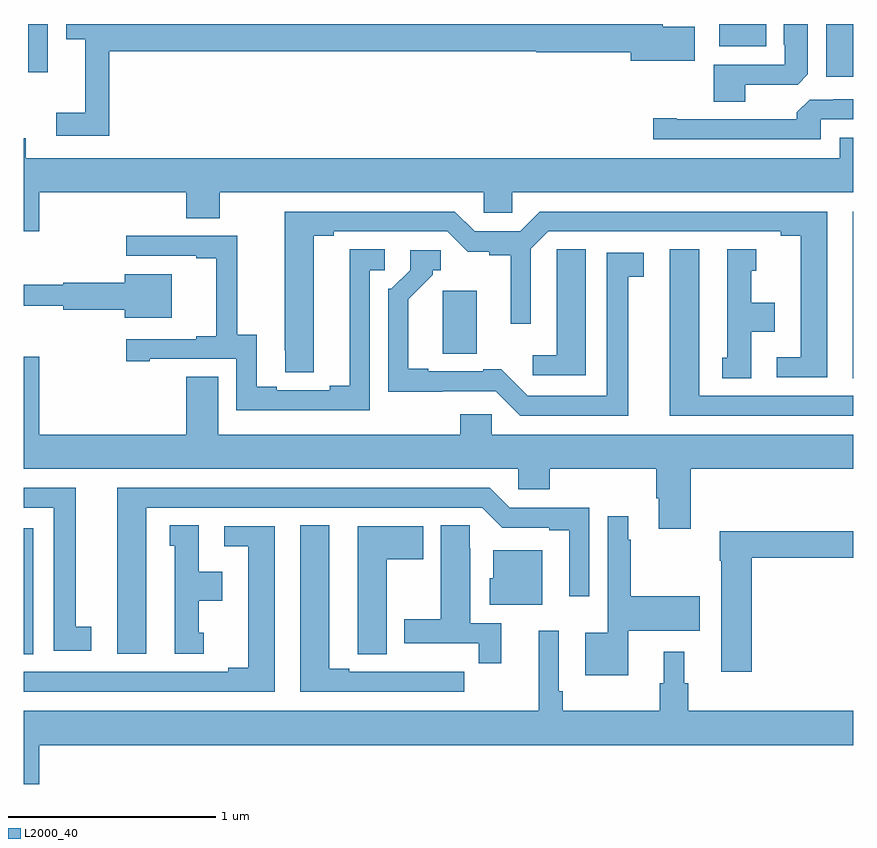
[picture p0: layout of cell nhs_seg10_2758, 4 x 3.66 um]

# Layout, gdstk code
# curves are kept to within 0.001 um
import gdstk
lib = gdstk.Library(unit=1e-6, precision=1e-09)
def R(c, l, rs):  # rectangles x0, y0, x1, y1
    for r in rs: c.add(gdstk.rectangle(r[:2], r[2:], *l))
def P(c, l, *ps):  # polygons
    for p in ps: c.add(gdstk.Polygon(p, *l))
L2000_40 = (2000, 40)

nhs_seg10_2758 = lib.new_cell('nhs_seg10_2758')
R(nhs_seg10_2758, L2000_40, [(261,1259.461,261.046,1260.069), (264.998,1260.793,265,1261.596), (264.869,1262.246,265,1262.5), (261.021,1262.268,261.117,1262.5), (264.353,1262.393,264.58,1262.5)])
P(nhs_seg10_2758, L2000_40, [(264.478,1262.208),(264.732,1262.208),(264.781,1262.257),(264.781,1262.5),(264.665,1262.5),(264.665,1262.401),(264.669,1262.401),(264.669,1262.304),(264.326,1262.304),(264.326,1262.125),(264.478,1262.125)],
  [(261.413,1262.368),(263.472,1262.368),(263.472,1262.363),(263.927,1262.363),(263.927,1262.324),(264.235,1262.324),(264.235,1262.487),(264.082,1262.487),(264.082,1262.5),(261.206,1262.5),(261.206,1262.426),(261.296,1262.426),(261.296,1262.071),(261.156,1262.071),(261.156,1261.962),(261.413,1261.962)],
  [(264.843,1262.04),(265,1262.04),(265,1262.137),(264.789,1262.136),(264.728,1262.074),(264.728,1262.04),(264.148,1262.04),(264.148,1262.045),(264.036,1262.045),(264.036,1261.944),(264.843,1261.944)],
  [(261.076,1261.688),(261.785,1261.688),(261.785,1261.564),(261.945,1261.564),(261.945,1261.688),(263.217,1261.688),(263.217,1261.59),(263.355,1261.59),(263.355,1261.688),(265,1261.688),(265,1261.951),(264.935,1261.951),(264.935,1261.852),(261.01,1261.852),(261.01,1261.95),(261,1261.95),(261,1261.5),(261.076,1261.5)],
  [(264.874,1261.596),(263.489,1261.596),(263.393,1261.5),(263.175,1261.5),(263.079,1261.596),(262.259,1261.596),(262.26,1260.82),(262.399,1260.82),(262.399,1261.48),(262.495,1261.48),(262.495,1261.5),(263.043,1261.5),(263.141,1261.403),(263.244,1261.403),(263.244,1261.384),(263.348,1261.384),(263.348,1261.056),(263.445,1261.056),(263.445,1261.416),(263.529,1261.5),(264.65,1261.5),(264.65,1261.48),(264.746,1261.48),(264.746,1260.894),(264.63,1260.894),(264.63,1260.798),(264.874,1260.798)],
  [(262.668,1261.314),(262.741,1261.314),(262.741,1261.415),(262.571,1261.415),(262.571,1260.755),(262.475,1260.755),(262.475,1260.735),(262.219,1260.735),(262.219,1260.75),(262.123,1260.75),(262.123,1261.001),(262.029,1261.001),(262.029,1261.479),(261.495,1261.479),(261.495,1261.383),(261.833,1261.383),(261.833,1261.371),(261.929,1261.371),(261.929,1260.994),(261.833,1260.994),(261.833,1260.981),(261.495,1260.981),(261.495,1260.873),(261.607,1260.873),(261.607,1260.885),(262.026,1260.885),(262.026,1260.639),(262.668,1260.639)],
  [(263.71,1261.415),(263.571,1261.415),(263.571,1261.307),(263.57,1261.307),(263.57,1260.904),(263.454,1260.904),(263.454,1260.807),(263.71,1260.807)],
  [(264.508,1261.016),(264.622,1261.016),(264.622,1261.156),(264.508,1261.156),(264.508,1261.311),(264.532,1261.311),(264.532,1261.414),(264.392,1261.414),(264.392,1260.891),(264.368,1260.891),(264.368,1260.793),(264.508,1260.793)],
  [(265,1260.708),(264.256,1260.708),(264.256,1261.414),(264.116,1261.414),(264.116,1260.612),(265,1260.612)],
  [(263.914,1261.282),(263.989,1261.282),(263.989,1261.398),(263.81,1261.398),(263.81,1260.708),(263.43,1260.708),(263.302,1260.836),(263.216,1260.836),(263.216,1260.825),(262.951,1260.825),(262.951,1260.838),(262.855,1260.838),(262.855,1261.174),(262.972,1261.291),(262.972,1261.314),(263.011,1261.314),(263.011,1261.41),(262.863,1261.41),(262.863,1261.314),(262.773,1261.224),(262.758,1261.224),(262.758,1260.728),(263.277,1260.729),(263.394,1260.612),(263.914,1260.612)],
  [(261.715,1261.294),(261.488,1261.294),(261.488,1261.252),(261.192,1261.252),(261.192,1261.244),(261,1261.244),(261,1261.141),(261.192,1261.141),(261.192,1261.123),(261.488,1261.123),(261.488,1261.085),(261.715,1261.085)],
  [(263.184,1261.068),(263.185,1261.068),(263.185,1261.213),(263.021,1261.213),(263.021,1260.91),(263.184,1260.91)],
  [(264.215,1260.356),(265,1260.356),(265,1260.52),(263.256,1260.52),(263.256,1260.618),(263.105,1260.618),(263.105,1260.52),(261.937,1260.52),(261.937,1260.8),(261.785,1260.8),(261.785,1260.52),(261.076,1260.52),(261.076,1260.895),(261,1260.895),(261,1260.356),(263.385,1260.356),(263.385,1260.258),(263.537,1260.258),(263.537,1260.356),(264.05,1260.356),(264.05,1260.214),(264.062,1260.214),(264.062,1260.066),(264.215,1260.066)],
  [(261.592,1260.168),(263.211,1260.168),(263.307,1260.072),(263.534,1260.072),(263.534,1260.06),(263.63,1260.06),(263.63,1259.742),(263.727,1259.742),(263.727,1260.168),(263.343,1260.168),(263.247,1260.264),(261.452,1260.264),(261.452,1259.463),(261.592,1259.463)],
  [(261.325,1259.594),(261.25,1259.594),(261.25,1260.264),(261,1260.264),(261,1260.168),(261.146,1260.168),(261.146,1259.478),(261.325,1259.478)],
  [(263.914,1259.576),(264.259,1259.576),(264.259,1259.742),(263.926,1259.742),(263.926,1260.014),(263.914,1260.014),(263.914,1260.127),(263.817,1260.127),(263.817,1259.566),(263.708,1259.566),(263.708,1259.36),(263.914,1259.36)],
  [(263.125,1259.376),(263.012,1259.376),(263.012,1259.377),(262.846,1259.377),(262.846,1259.376),(262.57,1259.376),(262.57,1259.391),(262.474,1259.391),(262.474,1260.083),(262.334,1260.083),(262.334,1259.28),(263.125,1259.28)],
  [(263.303,1259.61),(263.152,1259.61),(263.152,1259.972),(263.151,1259.972),(263.151,1260.083),(263.012,1260.083),(263.012,1259.631),(262.835,1259.631),(262.835,1259.514),(263.194,1259.514),(263.194,1259.418),(263.303,1259.418)],
  [(261.868,1259.565),(261.844,1259.565),(261.844,1259.72),(261.958,1259.72),(261.958,1259.86),(261.844,1259.86),(261.844,1260.083),(261.704,1260.083),(261.704,1259.985),(261.728,1259.985),(261.728,1259.463),(261.868,1259.463)],
  [(262.75,1259.92),(262.927,1259.92),(262.927,1260.079),(262.61,1260.079),(262.61,1259.569),(262.611,1259.569),(262.611,1259.461),(262.75,1259.461)],
  [(262.21,1260.078),(261.966,1260.078),(261.966,1259.982),(262.082,1259.982),(262.082,1259.396),(261.986,1259.396),(261.986,1259.376),(261,1259.376),(261,1259.28),(262.21,1259.28)],
  [(264.509,1259.926),(265,1259.926),(265,1260.055),(264.355,1260.055),(264.355,1259.912),(264.362,1259.912),(264.362,1259.376),(264.509,1259.376)],
  [(263.5,1259.962),(263.264,1259.962),(263.264,1259.829),(263.246,1259.829),(263.246,1259.699),(263.5,1259.699)],
  [(261.076,1259.024),(265,1259.024),(265,1259.188),(264.203,1259.188),(264.203,1259.322),(264.184,1259.322),(264.184,1259.473),(264.086,1259.473),(264.086,1259.322),(264.067,1259.322),(264.067,1259.188),(263.6,1259.188),(263.6,1259.284),(263.58,1259.284),(263.58,1259.575),(263.483,1259.575),(263.483,1259.188),(261,1259.188),(261,1258.836),(261.076,1258.836)])

lib.write_gds('nhs_seg10_2758.gds')
